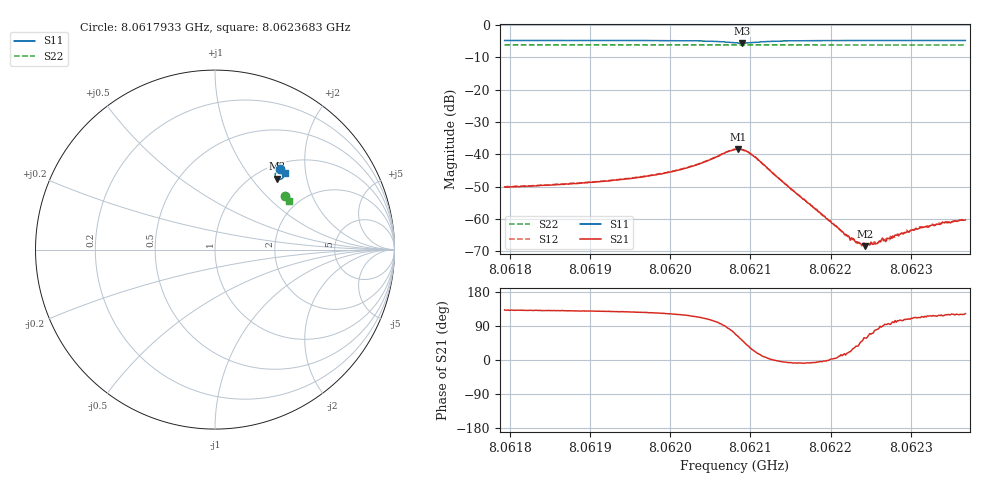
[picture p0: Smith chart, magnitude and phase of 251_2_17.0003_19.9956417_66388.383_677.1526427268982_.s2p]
#  HZ  S  RI  R  50.00
! Rohde & Schwarz Vector Network Analyzer
! Rohde-Schwarz,ZNB20-2Port,1311601062101988,3.16
! Created: UTC 3/20/2024, 11:03:17 PM
! freq[Hz]  re:S11  im:S11  re:S21  im:S21  re:S12  im:S12  re:S22  im:S22
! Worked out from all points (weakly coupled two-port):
!   401 points, 8.0617933 GHz to 8.0623683 GHz, reference 50 ohm
!   highest |S21| = -38.42 dB at 8.0620851 GHz (marker M1); lowest = -68.4 dB at 8.0622433 GHz (marker M2)
!   lowest |S11| = -5.6 dB at 8.0620894 GHz (marker M3), VSWR 3.20, Z = 61.7 + j67.4 ohm
!   |S11| at or under -10 dB: nowhere
!   |S22| runs from -6.2 to -6.2 dB; largest |S21 - S12| = 0.0009
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8.06179334e9  0.3635 0.4466  -0.00211 0.00232  -0.00198 0.00244  0.3906 0.298
8.06188964e9  0.3706 0.4404  -0.00226 0.00278  -0.00216 0.00294  0.394 0.2931
8.06193852e9  0.3744 0.4365  -0.00248 0.00322  -0.00231 0.00341  0.3958 0.2908
8.06198595e9  0.3787 0.4306  -0.00274 0.00411  -0.0025 0.00432  0.3975 0.2882
8.06203195e9  0.3831 0.4192  -0.0028 0.00619  -0.00245 0.00644  0.399 0.2855
8.06208082e9  0.358 0.3906  0.00414 0.0111  0.00491 0.011  0.3989 0.2823
8.06208513e9  0.3506 0.3922  0.00578 0.0105  0.00648 0.0103  0.3987 0.2823
8.06208945e9  0.3437 0.396  0.00723 0.00934  0.00778 0.00895  0.3987 0.2824
8.06209663e9  0.336 0.4067  0.00857 0.00678  0.00909 0.00613  0.3988 0.2827
8.06210669e9  0.3357 0.4222  0.0083 0.00321  0.00861 0.00272  0.3993 0.283
8.06213544e9  0.3532 0.4386  0.00421 -0.000219  0.00426 -0.000483  0.4013 0.2819
8.06217713e9  0.3674 0.4383  0.00157 -0.000184  0.00155 -0.000262  0.4032 0.2799
8.06222169e9  0.3747 0.4353  0.000506 0.000173  0.000516 0.000201  0.4049 0.2775
8.06223606e9  0.3766 0.4343  0.000309 0.000286  0.000318 0.000293  0.4053 0.2768
8.06224325e9  0.3773 0.4338  0.000202 0.000322  0.000236 0.00031  0.4055 0.2764
8.06225619e9  0.3786 0.4329  7.92e-05 0.000403  0.000146 0.000404  0.406 0.2757
8.06226337e9  0.3793 0.4325  2.69e-05 0.000469  5.47e-05 0.000426  0.4062 0.2752
8.06227344e9  0.3801 0.4317  -4.23e-05 0.000504  -3.57e-05 0.000476  0.4066 0.2747
8.06230937e9  0.3832 0.4297  -0.000267 0.000654  -0.000261 0.000692  0.4077 0.273
8.06232087e9  0.3841 0.4289  -0.000349 0.000696  -0.000315 0.000675  0.4081 0.2724
8.06234099e9  0.3857 0.4278  -0.000399 0.000786  -0.000355 0.000782  0.4089 0.2712
8.06236831e9  0.3875 0.4262  -0.000515 0.000816  -0.000446 0.000892  0.4098 0.2699
